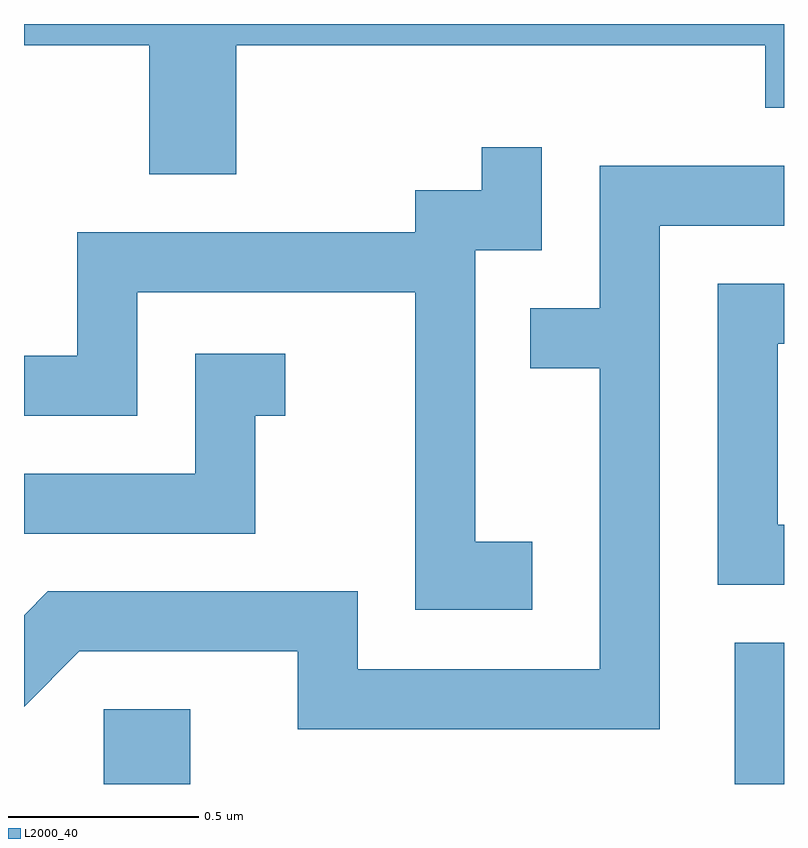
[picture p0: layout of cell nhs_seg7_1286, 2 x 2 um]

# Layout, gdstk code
import gdstk
lib = gdstk.Library(unit=1e-6, precision=1e-09)
def R(c, l, rs):  # rectangles x0, y0, x1, y1
    for r in rs: c.add(gdstk.rectangle(r[:2], r[2:], *l))
def P(c, l, *ps):  # polygons
    for p in ps: c.add(gdstk.Polygon(p, *l))
L2000_40 = (2000, 40)

nhs_seg7_1286 = lib.new_cell('nhs_seg7_1286')
R(nhs_seg7_1286, L2000_40, [(194.821,1721.252,195.049,1721.449), (196.481,1721.252,196.611,1721.624)])
P(nhs_seg7_1286, L2000_40, [(195.169,1723.196),(196.561,1723.196),(196.561,1723.031),(196.611,1723.031),(196.611,1723.252),(194.611,1723.252),(194.611,1723.196),(194.941,1723.196),(194.941,1722.856),(195.169,1722.856)],
  [(195.949,1721.889),(195.799,1721.889),(195.799,1722.656),(195.974,1722.656),(195.974,1722.928),(195.816,1722.928),(195.816,1722.814),(195.641,1722.814),(195.641,1722.704),(194.751,1722.704),(194.751,1722.379),(194.611,1722.379),(194.611,1722.221),(194.909,1722.221),(194.909,1722.546),(195.641,1722.546),(195.641,1721.711),(195.949,1721.711)],
  [(196.284,1722.721),(196.611,1722.721),(196.611,1722.879),(196.126,1722.879),(196.126,1722.504),(195.943,1722.504),(195.943,1722.346),(196.126,1722.346),(196.126,1721.554),(195.489,1721.554),(195.489,1721.759),(194.674,1721.759),(194.611,1721.696),(194.611,1721.455),(194.757,1721.601),(195.331,1721.601),(195.331,1721.396),(196.284,1721.396)],
  [(196.611,1721.934),(196.594,1721.934),(196.594,1722.411),(196.611,1722.411),(196.611,1722.569),(196.436,1722.569),(196.436,1721.776),(196.611,1721.776)],
  [(195.219,1722.221),(195.298,1722.221),(195.298,1722.384),(195.061,1722.384),(195.061,1722.069),(194.611,1722.069),(194.611,1721.911),(195.219,1721.911)])

lib.write_gds('nhs_seg7_1286.gds')
